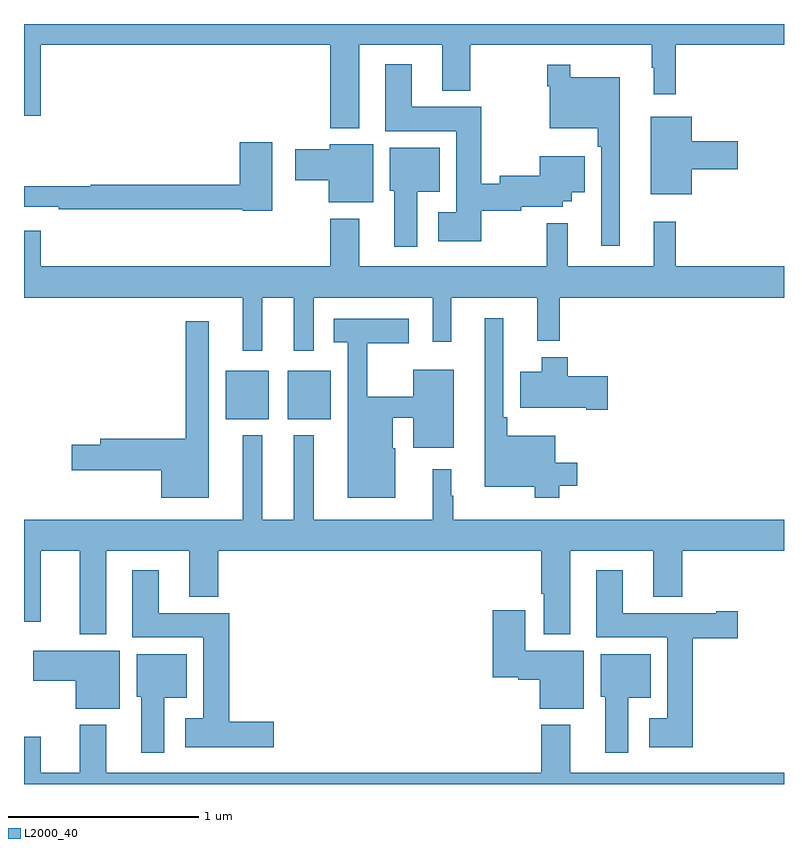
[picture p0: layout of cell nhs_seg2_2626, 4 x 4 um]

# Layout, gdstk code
import gdstk
lib = gdstk.Library(unit=1e-6, precision=1e-09)
def R(c, l, rs):  # rectangles x0, y0, x1, y1
    for r in rs: c.add(gdstk.rectangle(r[:2], r[2:], *l))
def P(c, l, *ps):  # polygons
    for p in ps: c.add(gdstk.Polygon(p, *l))
L2000_40 = (2000, 40)

nhs_seg2_2626 = lib.new_cell('nhs_seg2_2626')
R(nhs_seg2_2626, L2000_40, [(250.061,589.721,250.288,589.975), (250.388,589.721,250.615,589.975)])
P(nhs_seg2_2626, L2000_40, [(250.765,591.692),(251.201,591.692),(251.201,591.449),(251.349,591.449),(251.349,591.692),(252.303,591.692),(252.303,591.569),(252.314,591.569),(252.314,591.429),(252.431,591.429),(252.431,591.692),(253,591.692),(253,591.8),(249,591.8),(249,591.318),(249.088,591.318),(249.088,591.692),(250.613,591.692),(250.613,591.251),(250.765,591.251)],
  [(251.406,590.818),(251.616,590.818),(251.616,590.837),(251.836,590.837),(251.836,590.867),(251.884,590.867),(251.884,590.915),(251.95,590.915),(251.95,591.103),(251.714,591.103),(251.714,591.002),(251.504,591.002),(251.504,590.96),(251.406,590.96),(251.406,591.364),(251.041,591.364),(251.041,591.589),(250.901,591.589),(250.901,591.236),(251.276,591.236),(251.276,590.809),(251.181,590.809),(251.181,590.657),(251.406,590.657)],
  [(252.136,591.52),(251.875,591.52),(251.875,591.586),(251.754,591.586),(251.754,591.473),(251.766,591.473),(251.766,591.251),(252.019,591.251),(252.019,591.155),(252.039,591.155),(252.039,590.634),(252.136,590.634)],
  [(252.514,591.035),(252.757,591.035),(252.757,591.182),(252.514,591.182),(252.514,591.313),(252.299,591.313),(252.299,590.903),(252.514,590.903)],
  [(250.306,591.178),(250.136,591.178),(250.136,590.954),(249.352,590.954),(249.352,590.947),(249,590.947),(249,590.838),(249.184,590.838),(249.184,590.826),(250.152,590.826),(250.152,590.818),(250.306,590.818)],
  [(250.837,591.166),(250.608,591.166),(250.608,591.142),(250.428,591.142),(250.428,590.977),(250.604,590.977),(250.604,590.861),(250.837,590.861)],
  [(251.071,590.918),(251.188,590.918),(251.188,591.148),(250.925,591.148),(250.925,590.922),(250.949,590.922),(250.949,590.628),(251.071,590.628)],
  [(250.255,590.36),(250.421,590.36),(250.421,590.079),(250.525,590.079),(250.525,590.36),(251.151,590.36),(251.151,590.127),(251.249,590.127),(251.249,590.36),(251.702,590.36),(251.702,590.132),(251.819,590.132),(251.819,590.36),(253,590.36),(253,590.524),(252.431,590.524),(252.431,590.758),(252.314,590.758),(252.314,590.524),(251.861,590.524),(251.861,590.752),(251.751,590.752),(251.751,590.524),(250.765,590.524),(250.765,590.776),(250.613,590.776),(250.613,590.524),(249.088,590.524),(249.088,590.713),(249,590.713),(249,590.36),(250.151,590.36),(250.151,590.079),(250.255,590.079)],
  [(251.816,589.37),(251.911,589.37),(251.911,589.492),(251.797,589.492),(251.797,589.633),(251.543,589.633),(251.543,589.729),(251.523,589.729),(251.523,590.251),(251.426,590.251),(251.426,589.364),(251.688,589.364),(251.688,589.307),(251.816,589.307)],
  [(250.954,589.566),(250.942,589.566),(250.942,589.727),(251.048,589.727),(251.048,589.571),(251.263,589.571),(251.263,589.981),(251.048,589.981),(251.048,589.837),(250.807,589.837),(250.807,590.119),(251.026,590.119),(251.026,590.248),(250.629,590.248),(250.629,590.126),(250.703,590.126),(250.703,589.307),(250.954,589.307)],
  [(249.973,590.236),(249.852,590.236),(249.852,589.616),(249.401,589.616),(249.401,589.586),(249.252,589.586),(249.252,589.451),(249.722,589.451),(249.722,589.307),(249.973,589.307)],
  [(252.073,589.947),(251.861,589.947),(251.861,590.047),(251.726,590.047),(251.726,589.969),(251.612,589.969),(251.612,589.781),(251.96,589.781),(251.96,589.769),(252.073,589.769)],
  [(249.433,589.028),(249.869,589.028),(249.869,588.785),(250.022,588.785),(250.022,589.028),(251.723,589.028),(251.723,588.802),(251.735,588.802),(251.735,588.587),(251.875,588.587),(251.875,589.028),(252.311,589.028),(252.311,588.785),(252.464,588.785),(252.464,589.028),(253,589.028),(253,589.192),(251.26,589.192),(251.26,589.316),(251.248,589.316),(251.248,589.456),(251.15,589.456),(251.15,589.192),(250.525,589.192),(250.525,589.636),(250.421,589.636),(250.421,589.192),(250.255,589.192),(250.255,589.636),(250.151,589.636),(250.151,589.192),(249,589.192),(249,588.654),(249.088,588.654),(249.088,589.028),(249.293,589.028),(249.293,588.587),(249.433,588.587)],
  [(250.315,588.128),(250.079,588.128),(250.079,588.7),(249.709,588.7),(249.709,588.925),(249.569,588.925),(249.569,588.572),(249.944,588.572),(249.944,588.145),(249.849,588.145),(249.849,587.993),(250.315,587.993)],
  [(252.521,588.566),(252.757,588.566),(252.757,588.708),(252.644,588.708),(252.644,588.7),(252.151,588.7),(252.151,588.925),(252.011,588.925),(252.011,588.572),(252.386,588.572),(252.386,588.145),(252.291,588.145),(252.291,587.993),(252.521,587.993)],
  [(251.947,588.502),(251.638,588.502),(251.638,588.715),(251.468,588.715),(251.468,588.362),(251.601,588.362),(251.601,588.35),(251.714,588.35),(251.714,588.197),(251.947,588.197)],
  [(249.505,588.502),(249.048,588.502),(249.048,588.344),(249.272,588.344),(249.272,588.197),(249.505,588.197)],
  [(252.181,588.254),(252.298,588.254),(252.298,588.484),(252.035,588.484),(252.035,588.258),(252.059,588.258),(252.059,587.964),(252.181,587.964)],
  [(249.739,588.254),(249.856,588.254),(249.856,588.484),(249.593,588.484),(249.593,588.258),(249.617,588.258),(249.617,587.964),(249.739,587.964)],
  [(253,587.86),(251.875,587.86),(251.875,588.112),(251.723,588.112),(251.723,587.86),(249.433,587.86),(249.433,588.112),(249.293,588.112),(249.293,587.86),(249.088,587.86),(249.088,588.049),(249,588.049),(249,587.8),(253,587.8)])

lib.write_gds('nhs_seg2_2626.gds')
